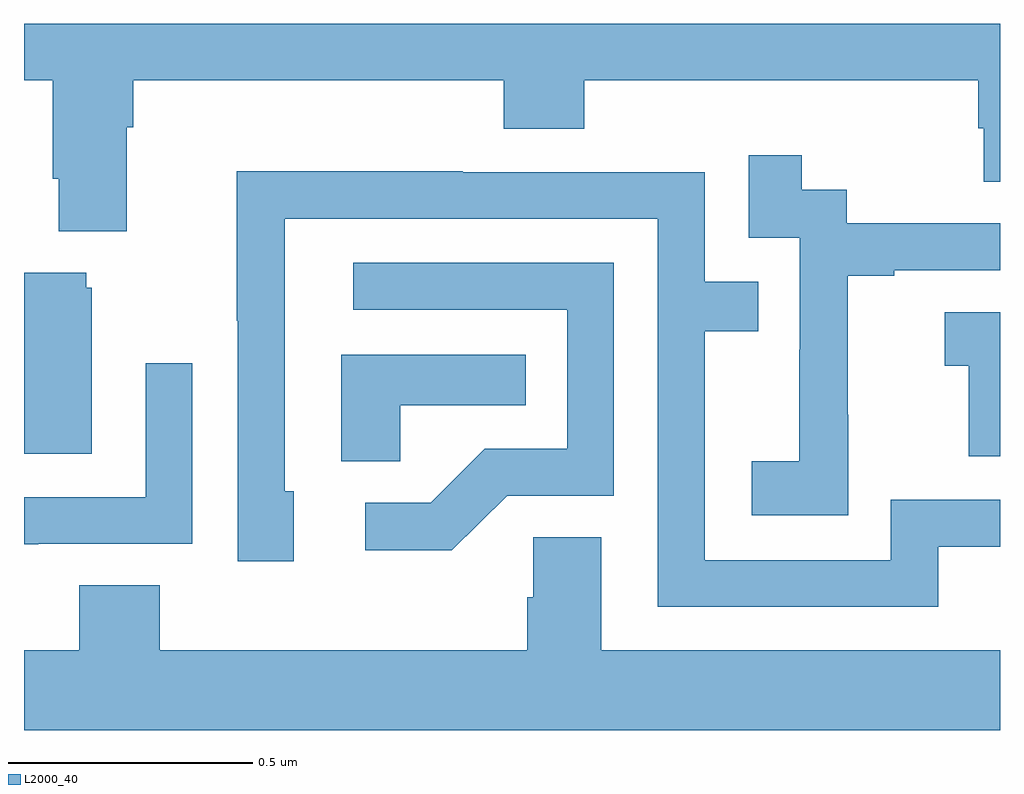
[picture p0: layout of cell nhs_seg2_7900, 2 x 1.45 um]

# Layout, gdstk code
import gdstk
lib = gdstk.Library(unit=1e-6, precision=1e-09)
def P(c, l, *ps):  # polygons
    for p in ps: c.add(gdstk.Polygon(p, *l))
L2000_40 = (2000, 40)

nhs_seg2_7900 = lib.new_cell('nhs_seg2_7900')
P(nhs_seg2_7900, L2000_40, [(210.211,599.588),(210.224,599.588),(210.224,599.684),(210.983,599.684),(210.983,599.585),(211.148,599.585),(211.148,599.684),(211.955,599.684),(211.955,599.586),(211.967,599.586),(211.967,599.476),(212,599.476),(212,599.8),(210,599.8),(210,599.684),(210.059,599.684),(210.059,599.482),(210.071,599.482),(210.071,599.375),(210.211,599.375)],
  [(211.689,598.999),(211.688,598.999),(211.688,599.283),(211.783,599.283),(211.783,599.295),(212,599.295),(212,599.391),(211.686,599.391),(211.686,599.46),(211.594,599.46),(211.594,599.53),(211.485,599.53),(211.485,599.361),(211.59,599.361),(211.59,599.132),(211.589,599.132),(211.589,598.903),(211.491,598.903),(211.491,598.793),(211.689,598.793)],
  [(211.873,598.728),(212,598.728),(212,598.824),(211.776,598.824),(211.776,598.701),(211.395,598.701),(211.395,599.17),(211.505,599.17),(211.505,599.271),(211.395,599.271),(211.395,599.496),(210.899,599.496),(210.899,599.498),(210.436,599.498),(210.436,599.191),(210.438,599.191),(210.438,598.698),(210.553,598.698),(210.553,598.842),(210.534,598.842),(210.534,599.4),(211.299,599.4),(211.299,598.605),(211.873,598.605)],
  [(210.99,598.833),(211.209,598.833),(211.209,599.31),(210.675,599.31),(210.675,599.214),(211.113,599.214),(211.113,598.929),(210.944,598.929),(210.833,598.818),(210.699,598.818),(210.699,598.721),(210.877,598.721)],
  [(210.139,599.259),(210.128,599.259),(210.128,599.29),(210,599.29),(210,598.919),(210.139,598.919)],
  [(212,599.209),(211.887,599.209),(211.887,599.099),(211.936,599.099),(211.936,598.914),(212,598.914)],
  [(210.771,599.018),(211.028,599.018),(211.028,599.122),(210.65,599.122),(210.65,598.903),(210.771,598.903)],
  [(210.029,598.734),(210.345,598.734),(210.345,599.104),(210.249,599.104),(210.249,598.83),(210,598.83),(210,598.733),(210.029,598.733)],
  [(212,598.516),(211.183,598.516),(211.183,598.748),(211.044,598.748),(211.044,598.625),(211.031,598.625),(211.031,598.516),(210.278,598.516),(210.278,598.649),(210.113,598.649),(210.113,598.516),(210,598.516),(210,598.352),(212,598.352)])

lib.write_gds('nhs_seg2_7900.gds')
